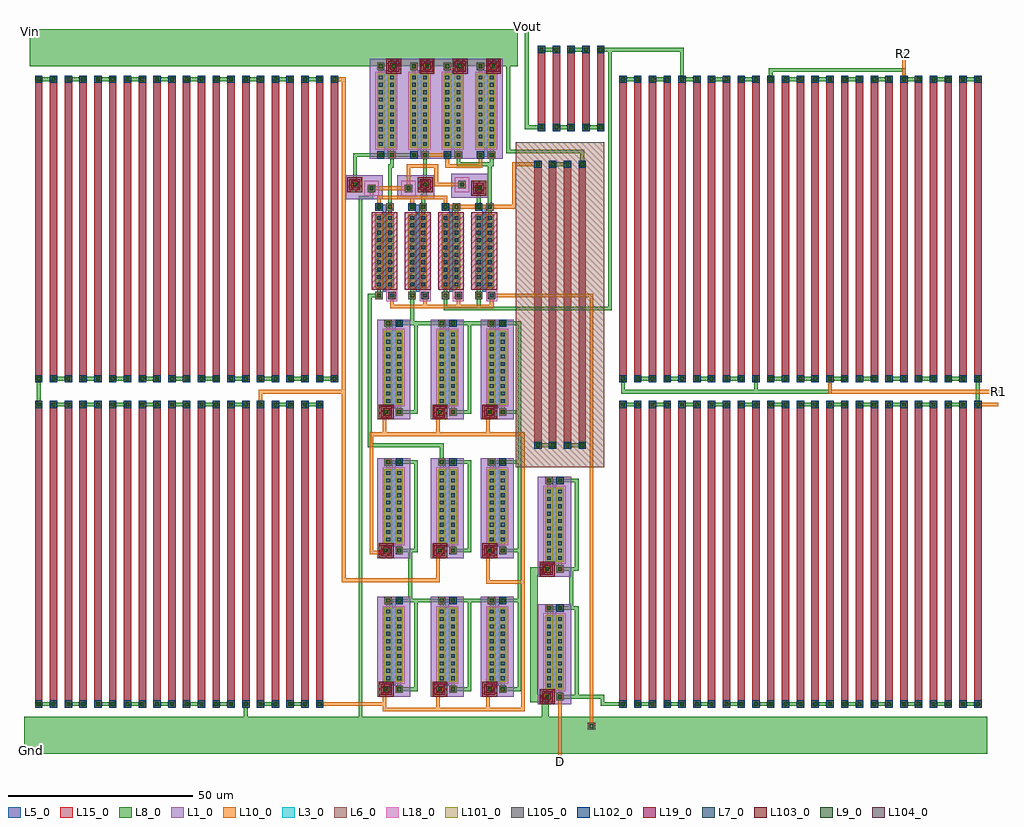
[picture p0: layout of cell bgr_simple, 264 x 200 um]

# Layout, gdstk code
from math import pi, radians
import gdstk
lib = gdstk.Library(unit=1e-6, precision=1e-09)
def R(c, l, rs):  # rectangles x0, y0, x1, y1
    for r in rs: c.add(gdstk.rectangle(r[:2], r[2:], *l))
def A(c, l, x, y, w, h, nx, ny, dx, dy):  # array of equal rectangles
    R(c, l, [(x+i*dx, y+j*dy, x+i*dx+w, y+j*dy+h) for i in range(nx) for j in range(ny)])
L1_0 = (1, 0)
L3_0 = (3, 0)
L5_0 = (5, 0)
L6_0 = (6, 0)
L7_0 = (7, 0)
L8_0 = (8, 0)
L9_0 = (9, 0)
L10_0 = (10, 0)
L15_0 = (15, 0)
L18_0 = (18, 0)
L19_0 = (19, 0)
L101_0 = (101, 0)
L102_0 = (102, 0)
L103_0 = (103, 0)
L104_0 = (104, 0)
L105_0 = (105, 0)

dcont_2 = lib.new_cell('dcont$2')
R(dcont_2, L3_0, [(-0.5,-0.5,0.5,0.5)])
R(dcont_2, L7_0, [(-0.5,-0.5,0.5,0.5)])
R(dcont_2, L8_0, [(-1,-1,1,1)])
R(dcont_2, L101_0, [(-1,-1,1,1)])
dcont_2.add(gdstk.Label('dcont', (0,0), layer=13, texttype=0))

pcont_1 = lib.new_cell('pcont$1')
R(pcont_1, L5_0, [(-1,-1,1,1)])
R(pcont_1, L7_0, [(-0.5,-0.5,0.5,0.5)])
R(pcont_1, L8_0, [(-1,-1,1,1)])
R(pcont_1, L102_0, [(-1,-1,1,1)])
pcont_1.add(gdstk.Label('pcont', (0,0), layer=13, texttype=0))

via_1 = lib.new_cell('Via$1')
R(via_1, L8_0, [(-1,-1,1,1)])
R(via_1, L9_0, [(-0.5,-0.5,0.5,0.5)])
R(via_1, L10_0, [(-1,-1,1,1)])
R(via_1, L105_0, [(-1,-1,1,1)])
via_1.add(gdstk.Label('via', (0,0), layer=13, texttype=0))

nsubcont_3 = lib.new_cell('nsubcont$3')
R(nsubcont_3, L1_0, [(-2,-2,2,2)])
R(nsubcont_3, L19_0, [(-1.5,-1.5,1.5,1.5)])
R(nsubcont_3, L103_0, [(-2,-2,2,2)])
nsubcont_3.add(gdstk.Reference(dcont_2, (0,0)))
nsubcont_3.add(gdstk.Label('NScont', (0,0), layer=13, texttype=0))

pch = lib.new_cell('Pch')
R(pch, L1_0, [(-2,0,7,27)])
R(pch, L3_0, [(0,3,5,23)])
R(pch, L18_0, [(-0.5,2.5,5.5,23.5)])
pch.add(gdstk.FlexPath([(1,3),(1,23)], 2, ends="flush", simple_path=True, layer=8, datatype=0))  # L8_0
pch.add(gdstk.FlexPath([(4,3),(4,23)], 2, ends="flush", simple_path=True, layer=8, datatype=0))  # L8_0
pch.add(gdstk.FlexPath([(1,23),(1,25)], 1, ends="flush", simple_path=True, layer=8, datatype=0))  # L8_0
pch.add(gdstk.FlexPath([(4,0),(4,3)], 1, ends="flush", simple_path=True, layer=8, datatype=0))  # L8_0
pch.add(gdstk.FlexPath([(2.5,3),(2.5,23)], 1, ends=(1, 1), simple_path=True, layer=5, datatype=0))  # L5_0
pch.add(gdstk.FlexPath([(1,1),(2.5,1),(2.5,2)], 1, ends="flush", simple_path=True, layer=5, datatype=0))  # L5_0
pch.add(gdstk.Reference(dcont_2, (1,4)))
pch.add(gdstk.Reference(dcont_2, (1,6)))
pch.add(gdstk.Reference(dcont_2, (1,8)))
pch.add(gdstk.Reference(dcont_2, (1,10)))
pch.add(gdstk.Reference(dcont_2, (1,12)))
pch.add(gdstk.Reference(dcont_2, (1,14)))
pch.add(gdstk.Reference(dcont_2, (1,16)))
pch.add(gdstk.Reference(dcont_2, (1,18)))
pch.add(gdstk.Reference(dcont_2, (1,20)))
pch.add(gdstk.Reference(dcont_2, (1,22)))
pch.add(gdstk.Reference(dcont_2, (4,4)))
pch.add(gdstk.Reference(dcont_2, (4,6)))
pch.add(gdstk.Reference(dcont_2, (4,8)))
pch.add(gdstk.Reference(dcont_2, (4,10)))
pch.add(gdstk.Reference(dcont_2, (4,12)))
pch.add(gdstk.Reference(dcont_2, (4,14)))
pch.add(gdstk.Reference(dcont_2, (4,16)))
pch.add(gdstk.Reference(dcont_2, (4,18)))
pch.add(gdstk.Reference(dcont_2, (4,20)))
pch.add(gdstk.Reference(dcont_2, (4,22)))
pch.add(gdstk.Reference(pcont_1, (1,1)))
pch.add(gdstk.Reference(via_1, (1,1)))
pch.add(gdstk.Reference(via_1, (1,25)))
pch.add(gdstk.Reference(via_1, (4,1)))
pch.add(gdstk.Reference(nsubcont_3, (4.5,25)))
pch.add(gdstk.Reference(via_1, (4.5,25)))

pch1x20 = lib.new_cell('pch1x20')
pch1x20.add(gdstk.Reference(pch, (1,2.5)))

psubcont_1 = lib.new_cell('psubcont$1')
R(psubcont_1, L104_0, [(-1,-1,1,1)])
psubcont_1.add(gdstk.Reference(dcont_2, (0,0)))
psubcont_1.add(gdstk.Label('PScon', (0,0), layer=13, texttype=0))

nch = lib.new_cell('Nch')
R(nch, L3_0, [(0,3,5,23)])
R(nch, L18_0, [(3,-0.5,6,2.5)])
R(nch, L19_0, [(-1,2.5,6,23.5)])
nch.add(gdstk.FlexPath([(1,3),(1,23)], 2, ends="flush", simple_path=True, layer=8, datatype=0))  # L8_0
nch.add(gdstk.FlexPath([(4,3),(4,23)], 2, ends="flush", simple_path=True, layer=8, datatype=0))  # L8_0
nch.add(gdstk.FlexPath([(1,1),(1,4)], 1, ends="flush", simple_path=True, layer=8, datatype=0))  # L8_0
nch.add(gdstk.FlexPath([(4,23),(4,26)], 1, ends="flush", simple_path=True, layer=8, datatype=0))  # L8_0
nch.add(gdstk.FlexPath([(2.5,3),(2.5,23)], 1, ends=(1, 1), simple_path=True, layer=5, datatype=0))  # L5_0
nch.add(gdstk.FlexPath([(1,25),(2.5,25),(2.5,24)], 1, ends="flush", simple_path=True, layer=5, datatype=0))  # L5_0
nch.add(gdstk.Reference(dcont_2, (1,4)))
nch.add(gdstk.Reference(dcont_2, (1,6)))
nch.add(gdstk.Reference(dcont_2, (1,8)))
nch.add(gdstk.Reference(dcont_2, (1,10)))
nch.add(gdstk.Reference(dcont_2, (1,12)))
nch.add(gdstk.Reference(dcont_2, (1,14)))
nch.add(gdstk.Reference(dcont_2, (1,16)))
nch.add(gdstk.Reference(dcont_2, (1,18)))
nch.add(gdstk.Reference(dcont_2, (1,20)))
nch.add(gdstk.Reference(dcont_2, (1,22)))
nch.add(gdstk.Reference(dcont_2, (4,4)))
nch.add(gdstk.Reference(dcont_2, (4,6)))
nch.add(gdstk.Reference(dcont_2, (4,8)))
nch.add(gdstk.Reference(dcont_2, (4,10)))
nch.add(gdstk.Reference(dcont_2, (4,12)))
nch.add(gdstk.Reference(dcont_2, (4,14)))
nch.add(gdstk.Reference(dcont_2, (4,16)))
nch.add(gdstk.Reference(dcont_2, (4,18)))
nch.add(gdstk.Reference(dcont_2, (4,20)))
nch.add(gdstk.Reference(dcont_2, (4,22)))
nch.add(gdstk.Reference(pcont_1, (1,25)))
nch.add(gdstk.Reference(via_1, (1,25)))
nch.add(gdstk.Reference(via_1, (1,1)))
nch.add(gdstk.Reference(via_1, (4,25)))
nch.add(gdstk.Reference(psubcont_1, (4.5,1)))
nch.add(gdstk.Reference(via_1, (4.5,1)))

nch1x20 = lib.new_cell('nch1x20')
nch1x20.add(gdstk.Reference(nch, (0.5,-0.5)))

pchdiode = lib.new_cell('pchdiode')
pchdiode.add(gdstk.FlexPath([(3.5,28.5),(-0.5,28.5),(-0.5,4.5),(7,4.5)], 1, ends="extended", simple_path=True, layer=8, datatype=0))  # L8_0
pchdiode.add(gdstk.Reference(pch1x20, (2,1)))

diodeblock = lib.new_cell('diodeblock')
diodeblock.add(gdstk.FlexPath([(32.5,8.5),(-3,8.5),(-3,-66.5),(26.5,-66.5)], 1, ends="flush", simple_path=True, layer=8, datatype=0))  # L8_0
diodeblock.add(gdstk.FlexPath([(26.5,8.5),(26.5,-5.5)], 1, ends="flush", simple_path=True, layer=8, datatype=0))  # L8_0
diodeblock.add(gdstk.FlexPath([(18.5,-36.5),(33.5,-36.5),(33.5,-42.5)], 1, ends="flush", simple_path=True, layer=10, datatype=0))  # L10_0
diodeblock.add(gdstk.FlexPath([(5.5,-42.5),(5.5,-36.5),(19,-36.5),(19,-42.5)], 1, ends="flush", simple_path=True, layer=10, datatype=0))  # L10_0
diodeblock.add(gdstk.FlexPath([(33,-36.5),(37,-36.5),(37,-4.5),(33.5,-4.5)], 1, ends="flush", simple_path=True, layer=10, datatype=0))  # L10_0
diodeblock.add(gdstk.FlexPath([(5.5,-5),(5.5,3.5),(-4.5,3.5)], 1, ends="flush", simple_path=True, layer=10, datatype=0))  # L10_0
diodeblock.add(gdstk.FlexPath([(18,38),(33.5,38),(33.5,32.5)], 1, ends="flush", simple_path=True, layer=10, datatype=0))  # L10_0
diodeblock.add(gdstk.FlexPath([(5.5,32.5),(5.5,38),(19,38),(19,32.5)], 1, ends="flush", simple_path=True, layer=10, datatype=0))  # L10_0
diodeblock.add(gdstk.FlexPath([(-4,4),(-4,-36.5),(5,-36.5)], 1, ends="flush", simple_path=True, layer=10, datatype=0))  # L10_0
diodeblock.add(gdstk.FlexPath([(-4,3.5),(-4,38),(5,38)], 1, ends="flush", simple_path=True, layer=10, datatype=0))  # L10_0
diodeblock.add(gdstk.Reference(pchdiode, (-2.5,4)))
diodeblock.add(gdstk.Reference(pchdiode, (11,4)))
diodeblock.add(gdstk.Reference(pchdiode, (25.5,4)))
diodeblock.add(gdstk.Reference(pchdiode, (-2.5,-33.5)))
diodeblock.add(gdstk.Reference(pchdiode, (11,-33.5)))
diodeblock.add(gdstk.Reference(pchdiode, (25.5,-33.5)))
diodeblock.add(gdstk.Reference(pchdiode, (-2.5,-71)))
diodeblock.add(gdstk.Reference(pchdiode, (11,-71)))
diodeblock.add(gdstk.Reference(pchdiode, (25.5,-71)))

r_poly_5 = lib.new_cell('R_poly$5')
A(r_poly_5, L8_0, 0, 0, 2, 2, 5, 2, 4, 81)
A(r_poly_5, L10_0, 0, 0, 2, 2, 5, 2, 4, 81)
r_poly_5.add(gdstk.FlexPath([(5,82),(1,82)], 1, ends="extended", simple_path=True, layer=8, datatype=0))  # L8_0
r_poly_5.add(gdstk.FlexPath([(9,1),(5,1)], 1, ends="extended", simple_path=True, layer=8, datatype=0))  # L8_0
r_poly_5.add(gdstk.FlexPath([(13,82),(9,82)], 1, ends="extended", simple_path=True, layer=8, datatype=0))  # L8_0
r_poly_5.add(gdstk.FlexPath([(17,1),(13,1)], 1, ends="extended", simple_path=True, layer=8, datatype=0))  # L8_0
r_poly_5.add(gdstk.FlexPath([(1,2),(1,81)], 2, ends=(2, 2), simple_path=True, layer=5, datatype=0))  # L5_0
r_poly_5.add(gdstk.FlexPath([(5,2),(5,81)], 2, ends=(2, 2), simple_path=True, layer=5, datatype=0))  # L5_0
r_poly_5.add(gdstk.FlexPath([(9,2),(9,81)], 2, ends=(2, 2), simple_path=True, layer=5, datatype=0))  # L5_0
r_poly_5.add(gdstk.FlexPath([(13,2),(13,81)], 2, ends=(2, 2), simple_path=True, layer=5, datatype=0))  # L5_0
r_poly_5.add(gdstk.FlexPath([(17,2),(17,81)], 2, ends=(2, 2), simple_path=True, layer=5, datatype=0))  # L5_0
r_poly_5.add(gdstk.FlexPath([(1,2),(1,81)], 2, ends=(0.5, 0.5), simple_path=True, layer=15, datatype=0))  # L15_0
r_poly_5.add(gdstk.FlexPath([(5,2),(5,81)], 2, ends=(0.5, 0.5), simple_path=True, layer=15, datatype=0))  # L15_0
r_poly_5.add(gdstk.FlexPath([(9,2),(9,81)], 2, ends=(0.5, 0.5), simple_path=True, layer=15, datatype=0))  # L15_0
r_poly_5.add(gdstk.FlexPath([(13,2),(13,81)], 2, ends=(0.5, 0.5), simple_path=True, layer=15, datatype=0))  # L15_0
r_poly_5.add(gdstk.FlexPath([(17,2),(17,81)], 2, ends=(0.5, 0.5), simple_path=True, layer=15, datatype=0))  # L15_0
r_poly_5.add(gdstk.Reference(via_1, (1,1)))
r_poly_5.add(gdstk.Reference(pcont_1, (1,1)))
r_poly_5.add(gdstk.Reference(via_1, (1,82)))
r_poly_5.add(gdstk.Reference(pcont_1, (1,82)))
r_poly_5.add(gdstk.Reference(via_1, (5,1)))
r_poly_5.add(gdstk.Reference(pcont_1, (5,1)))
r_poly_5.add(gdstk.Reference(via_1, (5,82)))
r_poly_5.add(gdstk.Reference(pcont_1, (5,82)))
r_poly_5.add(gdstk.Reference(via_1, (9,1)))
r_poly_5.add(gdstk.Reference(pcont_1, (9,1)))
r_poly_5.add(gdstk.Reference(via_1, (9,82)))
r_poly_5.add(gdstk.Reference(pcont_1, (9,82)))
r_poly_5.add(gdstk.Reference(via_1, (13,1)))
r_poly_5.add(gdstk.Reference(pcont_1, (13,1)))
r_poly_5.add(gdstk.Reference(via_1, (13,82)))
r_poly_5.add(gdstk.Reference(pcont_1, (13,82)))
r_poly_5.add(gdstk.Reference(via_1, (17,1)))
r_poly_5.add(gdstk.Reference(pcont_1, (17,1)))
r_poly_5.add(gdstk.Reference(via_1, (17,82)))
r_poly_5.add(gdstk.Reference(pcont_1, (17,82)))

r_poly = lib.new_cell('R_poly')
R(r_poly, L8_0, [(0,0,2,2), (0,81,2,83)])
R(r_poly, L10_0, [(0,0,2,2), (0,81,2,83)])
r_poly.add(gdstk.FlexPath([(1,2),(1,81)], 2, ends=(2, 2), simple_path=True, layer=5, datatype=0))  # L5_0
r_poly.add(gdstk.FlexPath([(1,2),(1,81)], 2, ends=(0.5, 0.5), simple_path=True, layer=15, datatype=0))  # L15_0
r_poly.add(gdstk.Reference(via_1, (1,1)))
r_poly.add(gdstk.Reference(pcont_1, (1,1)))
r_poly.add(gdstk.Reference(via_1, (1,82)))
r_poly.add(gdstk.Reference(pcont_1, (1,82)))

hr_poly = lib.new_cell('HR_poly')
R(hr_poly, L6_0, [(-5,-5,19,83)])
A(hr_poly, L8_0, 0, 0, 2, 2, 4, 2, 4, 76)
A(hr_poly, L10_0, 0, 0, 2, 2, 4, 2, 4, 76)
hr_poly.add(gdstk.FlexPath([(5,77),(1,77)], 1, ends="extended", simple_path=True, layer=8, datatype=0))  # L8_0
hr_poly.add(gdstk.FlexPath([(9,1),(5,1)], 1, ends="extended", simple_path=True, layer=8, datatype=0))  # L8_0
hr_poly.add(gdstk.FlexPath([(13,77),(9,77)], 1, ends="extended", simple_path=True, layer=8, datatype=0))  # L8_0
hr_poly.add(gdstk.FlexPath([(1,2),(1,76)], 2, ends=(2, 2), simple_path=True, layer=5, datatype=0))  # L5_0
hr_poly.add(gdstk.FlexPath([(5,2),(5,76)], 2, ends=(2, 2), simple_path=True, layer=5, datatype=0))  # L5_0
hr_poly.add(gdstk.FlexPath([(9,2),(9,76)], 2, ends=(2, 2), simple_path=True, layer=5, datatype=0))  # L5_0
hr_poly.add(gdstk.FlexPath([(13,2),(13,76)], 2, ends=(2, 2), simple_path=True, layer=5, datatype=0))  # L5_0
hr_poly.add(gdstk.FlexPath([(1,2),(1,76)], 2, ends=(0.5, 0.5), simple_path=True, layer=15, datatype=0))  # L15_0
hr_poly.add(gdstk.FlexPath([(5,2),(5,76)], 2, ends=(0.5, 0.5), simple_path=True, layer=15, datatype=0))  # L15_0
hr_poly.add(gdstk.FlexPath([(9,2),(9,76)], 2, ends=(0.5, 0.5), simple_path=True, layer=15, datatype=0))  # L15_0
hr_poly.add(gdstk.FlexPath([(13,2),(13,76)], 2, ends=(0.5, 0.5), simple_path=True, layer=15, datatype=0))  # L15_0
hr_poly.add(gdstk.Reference(via_1, (1,1)))
hr_poly.add(gdstk.Reference(pcont_1, (1,1)))
hr_poly.add(gdstk.Reference(via_1, (1,77)))
hr_poly.add(gdstk.Reference(pcont_1, (1,77)))
hr_poly.add(gdstk.Reference(via_1, (5,1)))
hr_poly.add(gdstk.Reference(pcont_1, (5,1)))
hr_poly.add(gdstk.Reference(via_1, (5,77)))
hr_poly.add(gdstk.Reference(pcont_1, (5,77)))
hr_poly.add(gdstk.Reference(via_1, (9,1)))
hr_poly.add(gdstk.Reference(pcont_1, (9,1)))
hr_poly.add(gdstk.Reference(via_1, (9,77)))
hr_poly.add(gdstk.Reference(pcont_1, (9,77)))
hr_poly.add(gdstk.Reference(via_1, (13,1)))
hr_poly.add(gdstk.Reference(pcont_1, (13,1)))
hr_poly.add(gdstk.Reference(via_1, (13,77)))
hr_poly.add(gdstk.Reference(pcont_1, (13,77)))

r_poly_2 = lib.new_cell('R_poly$2')
A(r_poly_2, L8_0, 0, 0, 2, 2, 5, 2, 4, 21)
A(r_poly_2, L10_0, 0, 0, 2, 2, 5, 2, 4, 21)
r_poly_2.add(gdstk.FlexPath([(5,22),(1,22)], 1, ends="extended", simple_path=True, layer=8, datatype=0))  # L8_0
r_poly_2.add(gdstk.FlexPath([(9,1),(5,1)], 1, ends="extended", simple_path=True, layer=8, datatype=0))  # L8_0
r_poly_2.add(gdstk.FlexPath([(13,22),(9,22)], 1, ends="extended", simple_path=True, layer=8, datatype=0))  # L8_0
r_poly_2.add(gdstk.FlexPath([(17,1),(13,1)], 1, ends="extended", simple_path=True, layer=8, datatype=0))  # L8_0
r_poly_2.add(gdstk.FlexPath([(1,2),(1,21)], 2, ends=(2, 2), simple_path=True, layer=5, datatype=0))  # L5_0
r_poly_2.add(gdstk.FlexPath([(5,2),(5,21)], 2, ends=(2, 2), simple_path=True, layer=5, datatype=0))  # L5_0
r_poly_2.add(gdstk.FlexPath([(9,2),(9,21)], 2, ends=(2, 2), simple_path=True, layer=5, datatype=0))  # L5_0
r_poly_2.add(gdstk.FlexPath([(13,2),(13,21)], 2, ends=(2, 2), simple_path=True, layer=5, datatype=0))  # L5_0
r_poly_2.add(gdstk.FlexPath([(17,2),(17,21)], 2, ends=(2, 2), simple_path=True, layer=5, datatype=0))  # L5_0
r_poly_2.add(gdstk.FlexPath([(1,2),(1,21)], 2, ends=(0.5, 0.5), simple_path=True, layer=15, datatype=0))  # L15_0
r_poly_2.add(gdstk.FlexPath([(5,2),(5,21)], 2, ends=(0.5, 0.5), simple_path=True, layer=15, datatype=0))  # L15_0
r_poly_2.add(gdstk.FlexPath([(9,2),(9,21)], 2, ends=(0.5, 0.5), simple_path=True, layer=15, datatype=0))  # L15_0
r_poly_2.add(gdstk.FlexPath([(13,2),(13,21)], 2, ends=(0.5, 0.5), simple_path=True, layer=15, datatype=0))  # L15_0
r_poly_2.add(gdstk.FlexPath([(17,2),(17,21)], 2, ends=(0.5, 0.5), simple_path=True, layer=15, datatype=0))  # L15_0
r_poly_2.add(gdstk.Reference(via_1, (1,1)))
r_poly_2.add(gdstk.Reference(pcont_1, (1,1)))
r_poly_2.add(gdstk.Reference(via_1, (1,22)))
r_poly_2.add(gdstk.Reference(pcont_1, (1,22)))
r_poly_2.add(gdstk.Reference(via_1, (5,1)))
r_poly_2.add(gdstk.Reference(pcont_1, (5,1)))
r_poly_2.add(gdstk.Reference(via_1, (5,22)))
r_poly_2.add(gdstk.Reference(pcont_1, (5,22)))
r_poly_2.add(gdstk.Reference(via_1, (9,1)))
r_poly_2.add(gdstk.Reference(pcont_1, (9,1)))
r_poly_2.add(gdstk.Reference(via_1, (9,22)))
r_poly_2.add(gdstk.Reference(pcont_1, (9,22)))
r_poly_2.add(gdstk.Reference(via_1, (13,1)))
r_poly_2.add(gdstk.Reference(pcont_1, (13,1)))
r_poly_2.add(gdstk.Reference(via_1, (13,22)))
r_poly_2.add(gdstk.Reference(pcont_1, (13,22)))
r_poly_2.add(gdstk.Reference(via_1, (17,1)))
r_poly_2.add(gdstk.Reference(pcont_1, (17,1)))
r_poly_2.add(gdstk.Reference(via_1, (17,22)))
r_poly_2.add(gdstk.Reference(pcont_1, (17,22)))

via = lib.new_cell('Via')
R(via, L8_0, [(-1,-1,1,1)])
R(via, L9_0, [(-0.5,-0.5,0.5,0.5)])
R(via, L10_0, [(-1,-1,1,1)])
R(via, L105_0, [(-1,-1,1,1)])
via.add(gdstk.Label('via', (0,0), layer=13, texttype=0))

nsubcont = lib.new_cell('nsubcont')
R(nsubcont, L1_0, [(-2,-2,2,2)])
R(nsubcont, L19_0, [(-1.5,-1.5,1.5,1.5)])
R(nsubcont, L103_0, [(-2,-2,2,2)])
nsubcont.add(gdstk.Label('NScont', (0,0), layer=13, texttype=0))

dcont_1 = lib.new_cell('dcont$1')
R(dcont_1, L3_0, [(-0.5,-0.5,0.5,0.5)])
R(dcont_1, L7_0, [(-0.5,-0.5,0.5,0.5)])
R(dcont_1, L8_0, [(-1,-1,1,1)])
R(dcont_1, L101_0, [(-1,-1,1,1)])
dcont_1.add(gdstk.Label('dcont', (0,0), layer=13, texttype=0))

protection = lib.new_cell('protection')
R(protection, L1_0, [(1.5,21,8,31)])
R(protection, L18_0, [(2.5,22,6.5,26)])
protection.add(gdstk.Reference(via, (4.5,24)))
protection.add(gdstk.Reference(nsubcont, (5.5,28.5)))
protection.add(gdstk.Reference(via, (5.5,28.5)))
protection.add(gdstk.Reference(dcont_1, (4.5,24)))
protection.add(gdstk.Label('VDD', (2.8,27.5), layer=13, texttype=0))

bgr_simple = lib.new_cell('bgr_simple')
bgr_simple.add(gdstk.FlexPath([(50.2,-152),(46.5,-152),(46.5,-186.5),(49.5,-186.5),(49.5,-192.5)], 2, ends="flush", simple_path=True, layer=8, datatype=0))  # L8_0
bgr_simple.add(gdstk.FlexPath([(-91.5,-196.5),(169,-196.5)], 10, ends="flush", simple_path=True, layer=8, datatype=0))  # L8_0
bgr_simple.add(gdstk.FlexPath([(-90,-10.5),(42,-10.5)], 10, ends="flush", simple_path=True, layer=8, datatype=0))  # L8_0
bgr_simple.add(gdstk.FlexPath([(13.5,-77.5),(13.5,-85)], 1, ends="flush", simple_path=True, layer=8, datatype=0))  # L8_0
bgr_simple.add(gdstk.FlexPath([(4.5,-77.5),(2,-77.5),(2,-118),(21.5,-118),(21.5,-123)], 1, ends="flush", simple_path=True, layer=8, datatype=0))  # L8_0
bgr_simple.add(gdstk.FlexPath([(56.5,-151.5),(56.5,-162)], 1, ends="flush", simple_path=True, layer=8, datatype=0))  # L8_0
bgr_simple.add(gdstk.FlexPath([(56,-186),(65,-186),(65,-188),(70.5,-188)], 1, ends="flush", simple_path=True, layer=8, datatype=0))  # L8_0
bgr_simple.add(gdstk.FlexPath([(86.5,-19),(86.5,-11),(64.5,-11)], 1, ends="flush", simple_path=True, layer=8, datatype=0))  # L8_0
bgr_simple.add(gdstk.FlexPath([(110.5,-19),(110.5,-16.5),(146.5,-16.5),(146.5,-19)], 1, ends="flush", simple_path=True, layer=8, datatype=0))  # L8_0
bgr_simple.add(gdstk.FlexPath([(106,-103.5),(126.5,-103.5),(126.5,-99.5)], 1, ends="flush", simple_path=True, layer=8, datatype=0))  # L8_0
bgr_simple.add(gdstk.FlexPath([(70.5,-100),(70.5,-103.5),(106.5,-103.5),(106.5,-100)], 1, ends="flush", simple_path=True, layer=8, datatype=0))  # L8_0
bgr_simple.add(gdstk.FlexPath([(31.5,-81),(67,-81),(67,-11)], 1, ends="flush", simple_path=True, layer=8, datatype=0))  # L8_0
bgr_simple.add(gdstk.FlexPath([(44.5,-4),(44.5,-32),(48.5,-32)], 1, ends="flush", simple_path=True, layer=8, datatype=0))  # L8_0
bgr_simple.add(gdstk.FlexPath([(90.5,-19),(86.5,-19)], 1, ends="flush", simple_path=True, layer=8, datatype=0))  # L8_0
bgr_simple.add(gdstk.FlexPath([(7.5,-53.5),(7.5,-42.5),(8,-42.5),(8,-39.5)], 1, ends="flush", simple_path=True, layer=8, datatype=0))  # L8_0
bgr_simple.add(gdstk.FlexPath([(26,-39.5),(26,-42),(35,-42),(35,-39.5)], 1, ends="flush", simple_path=True, layer=8, datatype=0))  # L8_0
bgr_simple.add(gdstk.FlexPath([(34.5,-53.5),(34.5,-42)], 1, ends="flush", simple_path=True, layer=8, datatype=0))  # L8_0
bgr_simple.add(gdstk.FlexPath([(31.5,-48.5),(31.5,-53.5),(31.5,-53.5)], 1, ends="flush", simple_path=True, layer=8, datatype=0))  # L8_0
bgr_simple.add(gdstk.FlexPath([(-2,-47.5),(-2,-39.5),(5,-39.5)], 1, ends="flush", simple_path=True, layer=8, datatype=0))  # L8_0
bgr_simple.add(gdstk.FlexPath([(2.5,-48.5),(2.5,-51),(-0.5,-51),(-0.5,-194.5),(-1,-194.5)], 1, ends="flush", simple_path=True, layer=8, datatype=0))  # L8_0
bgr_simple.add(gdstk.FlexPath([(16.5,-53.5),(16.5,-50.5),(17,-50.5),(17,-39.5)], 1, ends="flush", simple_path=True, layer=8, datatype=0))  # L8_0
bgr_simple.add(gdstk.FlexPath([(22.5,-77.3),(22.5,-81),(31.5,-81),(31.5,-77.6)], 1, ends="flush", simple_path=True, layer=8, datatype=0))  # L8_0
bgr_simple.add(gdstk.FlexPath([(5,-39.5),(14,-39.5),(14,-39.5)], 1, ends="flush", simple_path=True, layer=8, datatype=0))  # L8_0
bgr_simple.add(gdstk.FlexPath([(151,-19),(146,-19)], 1, ends="flush", simple_path=True, layer=8, datatype=0))  # L8_0
bgr_simple.add(gdstk.FlexPath([(130.5,-100),(126.5,-100)], 1, ends="flush", simple_path=True, layer=8, datatype=0))  # L8_0
bgr_simple.add(gdstk.FlexPath([(-71.5,-19),(-67.5,-19)], 1, ends="flush", simple_path=True, layer=8, datatype=0))  # L8_0
bgr_simple.add(gdstk.FlexPath([(59.5,-42),(59.5,-38.5),(39.5,-38.5),(39.5,-11),(39.5,-11)], 1, ends="flush", simple_path=True, layer=8, datatype=0))  # L8_0
bgr_simple.add(gdstk.FlexPath([(86.5,-107),(91,-107)], 1, ends="flush", simple_path=True, layer=8, datatype=0))  # L8_0
bgr_simple.add(gdstk.FlexPath([(106.5,-188),(110.5,-188)], 1, ends="flush", simple_path=True, layer=8, datatype=0))  # L8_0
bgr_simple.add(gdstk.FlexPath([(126.5,-107),(130.5,-107)], 1, ends="flush", simple_path=True, layer=8, datatype=0))  # L8_0
bgr_simple.add(gdstk.FlexPath([(146.5,-188),(150.5,-188)], 1, ends="flush", simple_path=True, layer=8, datatype=0))  # L8_0
bgr_simple.add(gdstk.FlexPath([(166.5,-100),(166.5,-107)], 1, ends="flush", simple_path=True, layer=8, datatype=0))  # L8_0
bgr_simple.add(gdstk.FlexPath([(-91.5,-196.5),(169,-196.5)], 10, ends="flush", simple_path=True, layer=8, datatype=0))  # L8_0
bgr_simple.add(gdstk.FlexPath([(-7.5,-100),(-11.5,-100),(-11.5,-100)], 1, ends="flush", simple_path=True, layer=8, datatype=0))  # L8_0
bgr_simple.add(gdstk.FlexPath([(-27.5,-19),(-31.5,-19),(-31.5,-19)], 1, ends="flush", simple_path=True, layer=8, datatype=0))  # L8_0
bgr_simple.add(gdstk.FlexPath([(-47.5,-100),(-51.5,-100)], 1, ends="flush", simple_path=True, layer=8, datatype=0))  # L8_0
bgr_simple.add(gdstk.FlexPath([(-87.5,-100),(-87.5,-107)], 1, ends="flush", simple_path=True, layer=8, datatype=0))  # L8_0
bgr_simple.add(gdstk.FlexPath([(-71.5,-188),(-67,-188)], 1, ends="flush", simple_path=True, layer=8, datatype=0))  # L8_0
bgr_simple.add(gdstk.FlexPath([(-51.5,-107),(-47,-107)], 1, ends="flush", simple_path=True, layer=8, datatype=0))  # L8_0
bgr_simple.add(gdstk.FlexPath([(-31.5,-188),(-31.5,-193)], 1, ends="flush", simple_path=True, layer=8, datatype=0))  # L8_0
bgr_simple.add(gdstk.FlexPath([(20.5,-147.5),(20.5,-154.5),(-5,-154.5),(-5,-19),(-8,-19)], 1, ends="flush", simple_path=True, layer=10, datatype=0))  # L10_0
bgr_simple.add(gdstk.FlexPath([(-11.5,-188),(6.5,-188)], 1, ends="flush", simple_path=True, layer=10, datatype=0))  # L10_0
bgr_simple.add(gdstk.FlexPath([(32,-39.5),(32,-42.5),(23,-42.5),(23,-39.5)], 1, ends="flush", simple_path=True, layer=10, datatype=0))  # L10_0
bgr_simple.add(gdstk.FlexPath([(-27.5,-107),(-27.5,-103.5),(-4.5,-103.5)], 1, ends="flush", simple_path=True, layer=10, datatype=0))  # L10_0
bgr_simple.add(gdstk.FlexPath([(4.5,-53.5),(4.5,-51),(13.5,-51),(13.5,-53.5)], 1, ends="flush", simple_path=True, layer=10, datatype=0))  # L10_0
bgr_simple.add(gdstk.FlexPath([(13,-51),(22.5,-51),(22.5,-53.5)], 1, ends="flush", simple_path=True, layer=10, datatype=0))  # L10_0
bgr_simple.add(gdstk.FlexPath([(27,-47.5),(20,-47.5),(20,-42.5),(12.5,-42.5),(12.5,-48.5)], 1, ends="flush", simple_path=True, layer=10, datatype=0))  # L10_0
bgr_simple.add(gdstk.FlexPath([(22,-53.5),(31.5,-53.5)], 1, ends="flush", simple_path=True, layer=10, datatype=0))  # L10_0
bgr_simple.add(gdstk.FlexPath([(31,-53.5),(41,-53.5),(41,-42),(47.6,-42)], 1, ends="flush", simple_path=True, layer=10, datatype=0))  # L10_0
bgr_simple.add(gdstk.FlexPath([(34.5,-53.5),(34.5,-53.5)], 1, ends="flush", simple_path=True, layer=10, datatype=0))  # L10_0
bgr_simple.add(gdstk.FlexPath([(2.5,-48.5),(12.5,-48.5),(12.5,-48.5)], 1, ends="flush", simple_path=True, layer=10, datatype=0))  # L10_0
bgr_simple.add(gdstk.FlexPath([(53.5,-186),(53.5,-204),(53.5,-204)], 1, ends="flush", simple_path=True, layer=10, datatype=0))  # L10_0
bgr_simple.add(gdstk.FlexPath([(126.5,-100),(126.5,-103.5),(172.5,-103.5),(172.5,-103.5)], 1, ends="flush", simple_path=True, layer=10, datatype=0))  # L10_0
bgr_simple.add(gdstk.FlexPath([(146.5,-19),(146.5,-11.5)], 1, ends="flush", simple_path=True, layer=10, datatype=0))  # L10_0
bgr_simple.add(gdstk.FlexPath([(166.5,-107),(172,-107)], 1, ends="flush", simple_path=True, layer=10, datatype=0))  # L10_0
bgr_simple.add(gdstk.FlexPath([(17,-39.5),(23,-39.5)], 1, ends="flush", simple_path=True, layer=10, datatype=0))  # L10_0
bgr_simple.add(gdstk.FlexPath([(17,-80.5),(26,-80.5),(26,-78)], 1, ends="flush", simple_path=True, layer=10, datatype=0))  # L10_0
bgr_simple.add(gdstk.FlexPath([(26,-80.5),(35,-80.5),(35,-78)], 1, ends="flush", simple_path=True, layer=10, datatype=0))  # L10_0
bgr_simple.add(gdstk.FlexPath([(8,-77.8),(8,-80.5),(17,-80.5),(17,-78)], 1, ends="flush", simple_path=True, layer=10, datatype=0))  # L10_0
bgr_simple.add(gdstk.FlexPath([(35,-77.5),(62,-77.5),(62,-194.5)], 1, ends="flush", simple_path=True, layer=10, datatype=0))  # L10_0
bgr_simple.add(gdstk.Reference(pch1x20, (12,-43)))
bgr_simple.add(gdstk.Reference(pch1x20, (21,-43)))
bgr_simple.add(gdstk.Reference(pch1x20, (30,-43)))
bgr_simple.add(gdstk.Reference(pch1x20, (3,-43)))
bgr_simple.add(gdstk.Reference(nch1x20, (3,-78)))
bgr_simple.add(gdstk.Reference(nch1x20, (12,-78)))
bgr_simple.add(gdstk.Reference(nch1x20, (30,-78)))
bgr_simple.add(gdstk.Reference(diodeblock, (39.5,-151.5), rotation=pi))
bgr_simple.add(gdstk.Reference(r_poly_5, (107.5,-189), rotation=pi, x_reflection=True))
bgr_simple.add(gdstk.Reference(r_poly_5, (109.5,-189)))
bgr_simple.add(gdstk.Reference(r_poly_5, (147.5,-189), rotation=pi, x_reflection=True))
bgr_simple.add(gdstk.Reference(r_poly_5, (167.5,-101), rotation=pi, x_reflection=True))
bgr_simple.add(gdstk.Reference(r_poly, (-8.5,-101)))
bgr_simple.add(gdstk.Reference(r_poly_5, (69.5,-189)))
bgr_simple.add(gdstk.Reference(r_poly_5, (-68.5,-189)))
bgr_simple.add(gdstk.Reference(r_poly_5, (-30.5,-189), rotation=pi, x_reflection=True))
bgr_simple.add(gdstk.Reference(r_poly_5, (-10.5,-189), rotation=pi, x_reflection=True))
bgr_simple.add(gdstk.Reference(r_poly_5, (-30.5,-18), rotation=pi))
bgr_simple.add(gdstk.Reference(r_poly_5, (-68.5,-18), x_reflection=True))
bgr_simple.add(gdstk.Reference(r_poly_5, (-70.5,-18), rotation=pi))
bgr_simple.add(gdstk.Reference(pchdiode, (57.5,-157.5), rotation=pi))
bgr_simple.add(gdstk.Reference(pchdiode, (57.5,-123), rotation=pi))
bgr_simple.add(gdstk.Reference(r_poly_5, (149.5,-189)))
bgr_simple.add(gdstk.Reference(hr_poly, (60.5,-41), rotation=pi))
bgr_simple.add(gdstk.Reference(r_poly_5, (-70.5,-189), rotation=pi, x_reflection=True))
bgr_simple.add(gdstk.Reference(r_poly_5, (-28.5,-18), x_reflection=True))
bgr_simple.add(gdstk.Reference(nch1x20, (21,-78)))
bgr_simple.add(gdstk.Reference(r_poly_2, (65.5,-10), rotation=pi))
bgr_simple.add(gdstk.Reference(r_poly_5, (127.5,-101), rotation=pi, x_reflection=True))
bgr_simple.add(gdstk.Reference(r_poly_5, (129.5,-101)))
bgr_simple.add(gdstk.Reference(r_poly_5, (107.5,-101), rotation=pi, x_reflection=True))
bgr_simple.add(gdstk.Reference(r_poly_5, (69.5,-101)))
bgr_simple.add(gdstk.Reference(via, (62,-194)))
bgr_simple.add(gdstk.Reference(protection, (-11.5,-53), rotation=pi/2, x_reflection=True))
bgr_simple.add(gdstk.Reference(protection, (26.5,-53), rotation=pi/2))
bgr_simple.add(gdstk.Reference(protection, (3,-43), rotation=3*pi/2))
bgr_simple.add(gdstk.Label('Vin', (-89.8,-6), layer=8, texttype=0))
bgr_simple.add(gdstk.Label('Gnd', (-89.5,-200.5), layer=8, texttype=0))
bgr_simple.add(gdstk.Label('Vout', (44.6,-4.6), layer=7, texttype=0))
bgr_simple.add(gdstk.Label('D', (53.5,-203.5), layer=10, texttype=0))
bgr_simple.add(gdstk.Label('R1', (172,-103.5), layer=10, texttype=0))
bgr_simple.add(gdstk.Label('R2', (146.5,-12), layer=10, texttype=0))
bgr_simple.add(gdstk.Label('R3', (172,-107), layer=10, texttype=0))

lib.write_gds('bgr_simple.gds')
